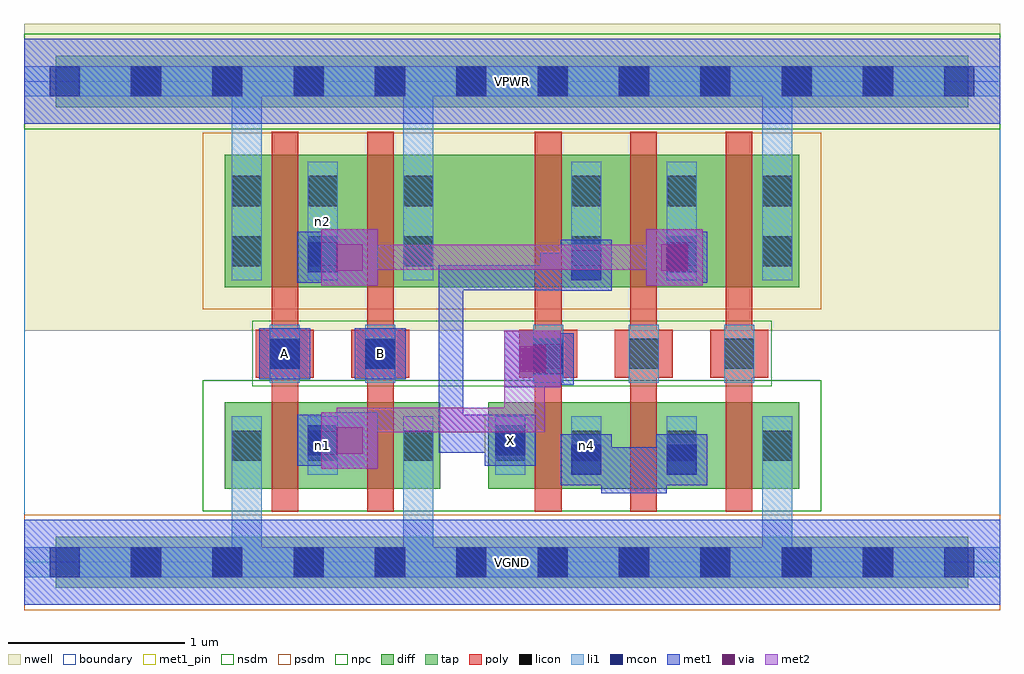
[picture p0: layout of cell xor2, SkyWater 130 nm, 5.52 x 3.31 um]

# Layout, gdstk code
import gdstk
lib = gdstk.Library(unit=1e-6, precision=1e-09)
def R(c, l, rs):  # rectangles x0, y0, x1, y1
    for r in rs: c.add(gdstk.rectangle(r[:2], r[2:], *l))
def A(c, l, x, y, w, h, nx, ny, dx, dy):  # array of equal rectangles
    R(c, l, [(x+i*dx, y+j*dy, x+i*dx+w, y+j*dy+h) for i in range(nx) for j in range(ny)])
nwell = (64, 20)
diff = (65, 20)
tap = (65, 44)
poly = (66, 20)
licon = (66, 44)
li1 = (67, 20)
mcon = (67, 44)
met1_pin = (68, 16)
met1 = (68, 20)
via = (68, 44)
met2 = (69, 20)
nsdm = (93, 44)
psdm = (94, 20)
npc = (95, 20)
boundary = (235, 4)

xor2 = lib.new_cell('xor2')
R(xor2, nwell, [(0,1.31,5.52,3.045)])
R(xor2, diff, [(1.135,0.415,2.355,0.905), (2.625,0.415,4.385,0.905), (1.135,1.555,4.385,2.305)])
R(xor2, tap, [(0.18,-0.145,5.34,0.145), (0.18,2.575,5.34,2.865)])
A(xor2, poly, 2.89, 0.285, 0.15, 2.15, 3, 1, 0.54, 0)
A(xor2, poly, 2.8, 1.045, 0.33, 0.27, 3, 1, 0.54, 0)
R(xor2, poly, [(1.4,0.285,1.55,2.435), (1.94,0.285,2.09,2.435), (1.31,1.045,1.64,1.315), (1.85,1.045,2.18,1.315)])
A(xor2, licon, 0.605, -0.085, 0.17, 0.17, 10, 2, 0.46, 2.72)
A(xor2, licon, 3.095, 0.575, 0.17, 0.17, 3, 2, 0.54, 1.1)
A(xor2, licon, 2.88, 1.095, 0.17, 0.17, 3, 1, 0.54, 0)
A(xor2, licon, 3.095, 2.015, 0.17, 0.17, 3, 1, 0.54, 0)
R(xor2, licon, [(1.175,0.575,1.345,0.745), (1.605,0.575,1.775,0.745), (2.145,0.575,2.315,0.745), (2.665,0.575,2.835,0.745), (1.39,1.095,1.56,1.265), (1.93,1.095,2.1,1.265), (1.175,1.675,1.345,1.845), (1.605,1.675,1.775,1.845), (2.145,1.675,2.315,1.845), (1.175,2.015,1.345,2.185), (1.605,2.015,1.775,2.185), (2.145,2.015,2.315,2.185)])
A(xor2, li1, 3.095, 0.495, 0.17, 0.33, 3, 1, 0.54, 0)
A(xor2, li1, 2.88, 1.015, 0.17, 0.33, 3, 1, 0.54, 0)
A(xor2, li1, 3.095, 1.595, 0.17, 0.67, 3, 1, 0.54, 0)
R(xor2, li1, [(0,-0.085,5.52,0.085), (1.175,-0.085,1.345,0.825), (2.145,-0.085,2.315,0.825), (4.175,-0.085,4.345,0.825), (1.175,0.495,1.345,0.825), (1.605,0.495,1.775,0.825), (2.145,0.495,2.315,0.825), (2.665,0.495,2.835,0.825), (1.39,1.015,1.56,1.345), (1.93,1.015,2.1,1.345), (1.175,1.595,1.345,2.265), (1.175,1.595,1.345,2.805), (1.605,1.595,1.775,2.265), (2.145,1.595,2.315,2.265), (2.145,1.595,2.315,2.805), (4.175,1.595,4.345,2.805), (0,2.635,5.52,2.805)])
A(xor2, mcon, 0.145, -0.085, 0.17, 0.17, 12, 2, 0.46, 2.72)
R(xor2, mcon, [(3.095,0.495,3.265,0.665), (3.635,0.495,3.805,0.665), (1.605,0.605,1.775,0.775), (2.665,0.605,2.835,0.775), (2.88,1.065,3.05,1.235), (1.39,1.095,1.56,1.265), (1.93,1.095,2.1,1.265), (3.095,1.595,3.265,1.765), (1.605,1.64,1.775,1.81), (3.635,1.64,3.805,1.81)])
R(xor2, met1_pin, [(0,-0.24,5.52,0.24), (2.605,0.545,2.895,0.835), (1.33,1.035,1.62,1.325), (1.87,1.035,2.16,1.325), (0,2.48,5.52,2.96)])
R(xor2, met1, [(0,-0.24,5.52,0.24), (3.265,0.39,3.405,0.65), (3.265,0.39,3.635,0.53), (3.405,0.39,3.495,0.65), (3.495,0.39,3.635,0.65), (3.035,0.435,3.325,0.725), (3.575,0.435,3.865,0.725), (3.11,0.51,3.405,0.65), (3.405,0.51,3.495,0.65), (3.495,0.51,3.79,0.65), (1.68,0.53,2,0.85), (1.545,0.545,1.835,0.835), (2.605,0.545,2.895,0.835), (1.62,0.62,1.91,0.76), (2.345,0.62,2.715,0.76), (2.345,0.62,2.485,1.68), (2.485,0.62,2.605,0.835), (2.575,0.62,2.82,0.76), (2.715,0.99,3.035,1.31), (2.82,1.005,3.11,1.295), (1.33,1.035,1.62,1.325), (1.87,1.035,2.16,1.325), (2.805,1.08,3.035,1.22), (3.035,1.535,3.325,1.825), (2.345,1.54,3.06,1.68), (2.92,1.54,3.06,1.75), (1.68,1.565,2,1.885), (3.52,1.565,3.84,1.885), (1.545,1.58,1.835,1.87), (3.575,1.58,3.865,1.87), (2.92,1.61,3.25,1.75), (1.62,1.655,1.91,1.795), (3.61,1.655,3.79,1.795), (0,2.48,5.52,2.96)])
R(xor2, via, [(1.765,0.615,1.915,0.765), (2.8,1.075,2.95,1.225), (1.765,1.65,1.915,1.8), (3.605,1.65,3.755,1.8)])
R(xor2, met2, [(1.68,0.53,2,0.85), (1.77,0.62,1.91,0.875), (1.77,0.735,2.945,0.875), (2.805,0.735,2.945,1.22), (2.715,0.875,2.945,0.99), (2.715,0.99,3.035,1.31), (1.68,1.565,2,1.885), (3.52,1.565,3.84,1.885), (1.77,1.655,3.75,1.795)])
R(xor2, nsdm, [(1.01,0.29,4.51,1.03), (0,2.45,5.52,2.99)])
R(xor2, psdm, [(0,-0.27,5.52,0.27), (1.01,1.43,4.51,2.43)])
R(xor2, npc, [(1.29,0.995,4.23,1.365)])
R(xor2, boundary, [(0,0,5.52,2.72)])
xor2.add(gdstk.Label('n1', (1.69,0.66), layer=67, texttype=5))
xor2.add(gdstk.Label('n4', (3.18,0.66), layer=67, texttype=5))
xor2.add(gdstk.Label('n2', (1.69,1.93), layer=67, texttype=5))
xor2.add(gdstk.Label('A', (1.475,1.18), layer=68, texttype=5))
xor2.add(gdstk.Label('B', (2.015,1.18), layer=68, texttype=5))
xor2.add(gdstk.Label('X', (2.75,0.69), layer=68, texttype=5))
xor2.add(gdstk.Label('VPWR', (2.76,2.72), layer=68, texttype=5))
xor2.add(gdstk.Label('VGND', (2.76,0), layer=68, texttype=5))
xor2.add(gdstk.Label('A', (1.475,1.18), layer=68, texttype=16))
xor2.add(gdstk.Label('B', (2.015,1.18), layer=68, texttype=16))
xor2.add(gdstk.Label('X', (2.75,0.69), layer=68, texttype=16))
xor2.add(gdstk.Label('VPWR', (2.76,2.72), layer=68, texttype=16))
xor2.add(gdstk.Label('VGND', (2.76,0), layer=68, texttype=16))

lib.write_gds('xor2.gds')
